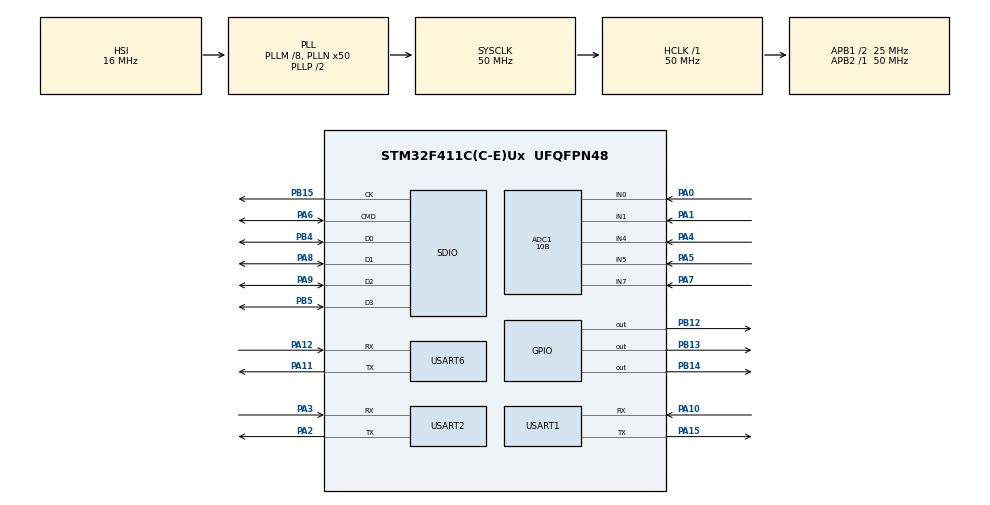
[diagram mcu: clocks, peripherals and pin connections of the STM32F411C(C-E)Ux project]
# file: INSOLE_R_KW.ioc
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Mcu.Family=STM32F4
Dma.USART2_RX.3.Mode=DMA_CIRCULAR
PA6.Mode=SD_4_bits_Wide_bus
ADC1.Rank-14\#ChannelRegularConversion=5
RCC.CortexFreq_Value=50000000
Dma.SDIO_RX.1.PeriphDataAlignment=DMA_PDATAALIGN_WORD
ADC1.ContinuousConvMode=ENABLE
VP_FATFS_VS_SDIO.Mode=SDIO
Dma.SDIO_RX.1.Mode=DMA_PFCTRL
Dma.SDIO_RX.1.Direction=DMA_PERIPH_TO_MEMORY
PA11.Mode=Asynchronous
Dma.SDIO_RX.1.Priority=DMA_PRIORITY_LOW
FREERTOS.configTICK_RATE_HZ=1000
ADC1.SamplingTime-12\#ChannelRegularConversion=ADC_SAMPLETIME_112CYCLES
PB13.Signal=GPIO_Output
PB15.Signal=SDIO_CK
ADC1.Channel-14\#ChannelRegularConversion=ADC_CHANNEL_7
TIM4.TIM_MasterOutputTrigger=TIM_TRGO_RESET
RCC.SYSCLKSource=RCC_SYSCLKSOURCE_PLLCLK
ProjectManager.StackSize=0x4000
Dma.SDIO_RX.1.Instance=DMA2_Stream3
Dma.SDIO_TX.2.Mode=DMA_PFCTRL
PA12.Signal=USART6_RX
Dma.SDIO_TX.2.MemDataAlignment=DMA_MDATAALIGN_WORD
ADC1.Channel-5\#ChannelRegularConversion=ADC_CHANNEL_0
NVIC.TIM5_IRQn=true\:0\:0\:false\:false\:true\:false\:false\:true
RCC.HCLKFreq_Value=50000000
ADC1.Resolution=ADC_RESOLUTION_10B
RCC.APB2TimFreq_Value=50000000
Dma.SDIO_RX.1.FIFOMode=DMA_FIFOMODE_ENABLE
Dma.ADC1.0.Direction=DMA_PERIPH_TO_MEMORY
ADC1.InjNumberOfConversion=0
NVIC.DMA2_Stream0_IRQn=true\:5\:0\:false\:false\:true\:true\:false\:true
Dma.ADC1.0.MemDataAlignment=DMA_MDATAALIGN_HALFWORD
RCC.AHBFreq_Value=50000000
RCC.HSE_VALUE=8000000
Dma.USART6_RX.4.Mode=DMA_NORMAL
PA15.Mode=Asynchronous
Dma.USART6_RX.4.Instance=DMA2_Stream1
PA6.GPIO_PuPd=GPIO_PULLUP
PB4.Mode=SD_4_bits_Wide_bus
Dma.ADC1.0.PeriphInc=DMA_PINC_DISABLE
PB5.Mode=SD_4_bits_Wide_bus
Dma.SDIO_TX.2.Direction=DMA_MEMORY_TO_PERIPH
PA8.Signal=SDIO_D1
SH.ADCx_IN0.0=ADC1_IN0,IN0
TIM4.Period=10-1
VP_FREERTOS_VS_CMSIS_V1.Mode=CMSIS_V1
Dma.USART2_RX.3.Direction=DMA_PERIPH_TO_MEMORY
Mcu.Package=UFQFPN48
Dma.USART6_RX.4.PeriphInc=DMA_PINC_DISABLE
PA6.Signal=SDIO_CMD
NVIC.TimeBase=TIM5_IRQn
USART2.VirtualMode=VM_ASYNC
USART6.VirtualMode=VM_ASYNC
ADC1.SamplingTime-13\#ChannelRegularConversion=ADC_SAMPLETIME_112CYCLES
Dma.SDIO_TX.2.PeriphBurst=DMA_PBURST_INC4
NVIC.TimeBaseIP=TIM5
PA10.Signal=USART1_RX
PA15.Signal=USART1_TX
Dma.SDIO_RX.1.PeriphBurst=DMA_PBURST_INC4
SH.ADCx_IN1.0=ADC1_IN1,IN1
Dma.USART2_RX.3.MemDataAlignment=DMA_MDATAALIGN_BYTE
Dma.USART6_RX.4.MemInc=DMA_MINC_ENABLE
Dma.Request2=SDIO_TX
Dma.Request1=SDIO_RX
RCC.APB1TimFreq_Value=50000000
Dma.Request4=USART6_RX
Dma.Request3=USART2_RX
Dma.ADC1.0.FIFOMode=DMA_FIFOMODE_DISABLE
NVIC.USART1_IRQn=true\:5\:0\:false\:false\:true\:true\:true\:true
Dma.Request0=ADC1
Dma.SDIO_TX.2.FIFOThreshold=DMA_FIFO_THRESHOLD_FULL
PB4.Signal=SDIO_D0
PA3.Signal=USART2_RX
Dma.USART6_RX.4.MemDataAlignment=DMA_MDATAALIGN_BYTE
ADC1.Channel-10\#ChannelRegularConversion=ADC_CHANNEL_1
Dma.SDIO_TX.2.MemInc=DMA_MINC_ENABLE
Dma.ADC1.0.Instance=DMA2_Stream0
FREERTOS.Tasks01=defaultTask,0,128,StartDefaultTask,Default,NULL
PA10.Mode=Asynchronous
ADC1.Rank-10\#ChannelRegularConversion=2
Dma.USART2_RX.3.Instance=DMA1_Stream5
Dma.USART6_RX.4.Priority=DMA_PRIORITY_LOW
VP_SYS_VS_tim5.Mode=TIM5
Dma.USART6_RX.4.PeriphDataAlignment=DMA_PDATAALIGN_BYTE
Dma.USART6_RX.4.FIFOMode=DMA_FIFOMODE_DISABLE
Dma.USART2_RX.3.PeriphDataAlignment=DMA_PDATAALIGN_BYTE
Dma.SDIO_TX.2.Instance=DMA2_Stream6
NVIC.DMA2_Stream1_IRQn=true\:5\:0\:false\:false\:true\:true\:false\:true
ADC1.Channel-13\#ChannelRegularConversion=ADC_CHANNEL_5
RCC.APB1CLKDivider=RCC_HCLK_DIV2
PA9.GPIO_PuPd=GPIO_PULLUP
NVIC.USART2_IRQn=true\:5\:0\:false\:false\:true\:true\:true\:true
NVIC.SDIO_IRQn=true\:5\:0\:false\:false\:true\:true\:true\:true
PA0-WKUP.Signal=ADCx_IN0
Dma.SDIO_RX.1.PeriphInc=DMA_PINC_DISABLE
NVIC.USART6_IRQn=true\:5\:0\:false\:false\:true\:true\:true\:true
PA3.Mode=Asynchronous
ADC1.Rank-13\#ChannelRegularConversion=4
Dma.ADC1.0.PeriphDataAlignment=DMA_PDATAALIGN_HALFWORD
PA9.Mode=SD_4_bits_Wide_bus
Dma.USART2_RX.3.FIFOMode=DMA_FIFOMODE_DISABLE
ProjectManager.TargetToolchain=MDK-ARM V5
NVIC.DMA1_Stream5_IRQn=true\:5\:0\:false\:false\:true\:true\:false\:true
SH.ADCx_IN7.0=ADC1_IN7,IN7
Dma.ADC1.0.Mode=DMA_CIRCULAR
Dma.ADC1.0.Priority=DMA_PRIORITY_LOW
PA9.Signal=SDIO_D2
Dma.SDIO_TX.2.PeriphDataAlignment=DMA_PDATAALIGN_WORD
PB4.GPIO_PuPd=GPIO_PULLUP
SDIO.ClockDiv=3
NVIC.DMA2_Stream3_IRQn=true\:5\:0\:false\:false\:true\:true\:false\:true
NVIC.DMA2_Stream6_IRQn=true\:5\:0\:false\:false\:true\:true\:false\:true
TIM4.Prescaler=5000-1
RCC.LSE_VALUE=32768
PA1.Signal=ADCx_IN1
Dma.SDIO_RX.1.MemDataAlignment=DMA_MDATAALIGN_WORD
Dma.SDIO_RX.1.FIFOThreshold=DMA_FIFO_THRESHOLD_FULL
PB14.Signal=GPIO_Output
PA5.Signal=ADCx_IN5
board=custom
Dma.SDIO_RX.1.MemBurst=DMA_MBURST_INC4
ADC1.Rank-12\#ChannelRegularConversion=3
RCC.VCOOutputFreq_Value=100000000
PB15.Mode=SD_4_bits_Wide_bus
ADC1.SamplingTime-14\#ChannelRegularConversion=ADC_SAMPLETIME_112CYCLES
ADC1.Channel-12\#ChannelRegularConversion=ADC_CHANNEL_4
RCC.APB2Freq_Value=50000000
SH.ADCx_IN4.0=ADC1_IN4,IN4
ADC1.DMAContinuousRequests=ENABLE
ADC1.SamplingTime-10\#ChannelRegularConversion=ADC_SAMPLETIME_112CYCLES
ADC1.NbrOfConversion=5
Mcu.Name=STM32F411C(C-E)Ux
PA2.Signal=USART2_TX
Dma.SDIO_TX.2.Priority=DMA_PRIORITY_LOW
FATFS._MAX_SS=4096
RCC.48MHZClocksFreq_Value=33333333.333333332
PA4.Signal=ADCx_IN4
RCC.SYSCLKFreq_VALUE=50000000
PB5.Signal=SDIO_D3
ADC1.master=1
PA12.Mode=Asynchronous
Dma.USART6_RX.4.Direction=DMA_PERIPH_TO_MEMORY
PB5.GPIO_PuPd=GPIO_PULLUP
USART1.VirtualMode=VM_ASYNC
PA11.Signal=USART6_TX
Dma.ADC1.0.MemInc=DMA_MINC_ENABLE
Dma.SDIO_TX.2.MemBurst=DMA_MBURST_INC4
ProjectManager.HeapSize=0x2000
Dma.SDIO_RX.1.MemInc=DMA_MINC_ENABLE
Dma.SDIO_TX.2.FIFOMode=DMA_FIFOMODE_ENABLE
Dma.USART2_RX.3.MemInc=DMA_MINC_ENABLE
Dma.USART2_RX.3.PeriphInc=DMA_PINC_DISABLE
ADC1.SamplingTime-5\#ChannelRegularConversion=ADC_SAMPLETIME_112CYCLES
RCC.HSI_VALUE=16000000
PA8.GPIO_PuPd=GPIO_PULLUP
SH.ADCx_IN5.0=ADC1_IN5,IN5
VP_TIM4_VS_ClockSourceINT.Mode=Internal
RCC.PLLQ=3
NVIC.PriorityGroup=NVIC_PRIORITYGROUP_4
ADC1.NbrOfConversionFlag=1
RCC.PLLM=8
RCC.PLLN=50
Dma.USART2_RX.3.Priority=DMA_PRIORITY_LOW
PA2.Mode=Asynchronous
Dma.SDIO_TX.2.PeriphInc=DMA_PINC_DISABLE
PA8.Mode=SD_4_bits_Wide_bus
NVIC.TIM4_IRQn=true\:5\:0\:false\:false\:true\:true\:true\:true
RCC.APB1Freq_Value=25000000
VP_CRC_VS_CRC.Mode=CRC_Activate
ADC1.Rank-5\#ChannelRegularConversion=1
PB12.Signal=GPIO_Output
PA7.Signal=ADCx_IN7

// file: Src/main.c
/* USER CODE BEGIN Header */

/*Definition in INSOLE Device Comm system
INSOLE_L : 10BYTE(FSR) + 4BYTE(ST/ED) + 6BYTE(UWB) + 2BYTE(CRC) = 22BYTE
***INSOLE_L : 10BYTE(FSR) + 4BYTE(ST/ED) + 12BYTE(UWB) + 2BYTE(CRC) = 28BYTE

INSOLE_R : 20BYTE(FSR) + 4BYTE(ST/ED) + 12BYTE(UWB) + 2BYTE(CRC)= 38BYTE
***INSOLE_R : 20BYTE(FSR) + 4BYTE(ST/ED) + 24BYTE(UWB) + 2BYTE(CRC)= 50BYTE

IMU      : 2Byte(TMR) + 20BYTE(FSR) + 18BYTE(IMU) + 12BYTE(UWB) + 4BYTE(ST/ED) + 2BYTE(CRC) = 58BYTE
***IMU      : 2Byte(TMR) + 20BYTE(FSR) + 18BYTE(IMU) + 24BYTE(UWB) + 4BYTE(ST/ED) + 2BYTE(CRC) = 70BYTE
*/
/**
  ******************************************************************************
  * @file           : main.c
  * @brief          : Main program body
  ******************************************************************************
  * @attention
  *
  * <h2><center>&copy; Copyright (c) 2020 STMicroelectronics.
  * All rights reserved.</center></h2>
  *
  * This software component is licensed by ST under Ultimate Liberty license
  * SLA0044, the "License"; You may not use this file except in compliance with
  * the License. You may obtain a copy of the License at:
  *                             www.st.com/SLA0044
  *
  ******************************************************************************
  */
/* USER CODE END Header */

#include "main.h"
#include "cmsis_os.h"
#include "fatfs.h"

/* USER CODE BEGIN Includes */
#include <stdio.h>
#include <string.h>
#include <stdbool.h>
/* USER CODE END Includes */

ADC_HandleTypeDef hadc1;
DMA_HandleTypeDef hdma_adc1;
CRC_HandleTypeDef hcrc;
SD_HandleTypeDef hsd;
DMA_HandleTypeDef hdma_sdio_rx;
DMA_HandleTypeDef hdma_sdio_tx;
TIM_HandleTypeDef htim4;
UART_HandleTypeDef huart1;
UART_HandleTypeDef huart2;
UART_HandleTypeDef huart6;
DMA_HandleTypeDef hdma_usart2_rx;
DMA_HandleTypeDef hdma_usart6_rx;
osThreadId defaultTaskHandle;

void SystemClock_Config(void);
static void MX_GPIO_Init(void);
static void MX_DMA_Init(void);
static void MX_ADC1_Init(void);
static void MX_USART1_UART_Init(void);
static void MX_USART2_UART_Init(void);
static void MX_CRC_Init(void);
static void MX_SDIO_SD_Init(void);
static void MX_TIM4_Init(void);
static void MX_USART6_UART_Init(void);
void StartDefaultTask(void const * argument);

/* USER CODE BEGIN 0 */
	//Communication buffers
	//DMA comm
	bool dma_connect = false;
	bool data_received_dma = true;

	uint8_t txdata[50]; //rx byffer
	uint8_t rxBuf_[32] = {0};
	uint8_t rxBuf_crc[32] = {0};

	//Inturrupt comm
	uint8_t buff_index = 0;
	bool received_flag = false;
	bool received_end = false;

	uint8_t rxBuf_sd[9];

	//UWB comm
	uint8_t Rxbuf_ino[16] = {0}; //rx from arduino
	uint8_t Rxbuf_ino_p[16] = {0}; //rx from arduino parsed

	//ADC DMA
	uint16_t adcValArray[5] = {0,};

	//crc
	uint32_t crcArray[8] = {0,}; // crc for save
	uint32_t crcArray_send[12] = {0,}; // crc for send
	uint16_t crcval = 0; // calculate crc data for test

	//buff calcualtion
	uint16_t cal_val = 0;
	uint16_t receive_val =0;

	//SD card variables
	extern char SDPath[4];   /* SD logical drive path */
	extern FATFS SDFatFS;    /* File system object for SD logical drive */
	extern FIL SDFile;       /* File object for SD */

	//FILE I/O operation
	FRESULT res;                                          /* FatFs function common result code */
	uint32_t byteswritten, bytesread;                     /* File write/read counts */
	uint8_t wtext[] = "test"; 			      /* File write start buffer */
	uint8_t rtext[100];                                   /* File read buffer */

	FATFS myFATAS;
	FIL myFILE;
	UINT testByte; 										  // error detection
	bool datasave_flg = true;
	bool ongoing_flg = false;

	bool sdcard_save = false;
	bool sdcard_save_check = true;
	bool sdcard_save_ongoing = false;

	//Timer
	bool _10ms_flg = false;
	bool _5ms_flg = false;
	bool _1000ms_flg = false;

	uint16_t ms_tmr = 0;
	uint16_t _100ms_tmr = 0;
	uint16_t ms_sv_tmr = 0;

	//wdg cnt
	uint8_t wdg_cnt = 0;
	uint8_t wdg_tmr = 0;

	//test val
	uint16_t test_val = 0;
	uint8_t k = 0;
	char str_testset[10];

/* USER CODE END 0 */

int main(void)
{

  /* MCU Configuration--------------------------------------------------------*/

  /* Reset of all peripherals, Initializes the Flash interface and the Systick. */
  HAL_Init();

  /* Configure the system clock */
  SystemClock_Config();

  /* Initialize all configured peripherals */
  MX_GPIO_Init();
  MX_DMA_Init();
  MX_ADC1_Init();
  MX_USART1_UART_Init();
  MX_USART2_UART_Init();
  MX_CRC_Init();
  MX_SDIO_SD_Init();
  MX_TIM4_Init();
  MX_USART6_UART_Init();
  MX_FATFS_Init();
  /* USER CODE BEGIN 2 */

  HAL_UART_Receive_DMA(&huart2, (uint8_t *)rxBuf_crc, 32); //interrupt dma mode only in the mcu data
  //HAL_UART_Receive_DMA(&huart6, (uint8_t *)Rxbuf_ino, 16); //interrupt dma mode for arduino
  HAL_UART_Receive_IT(&huart1, (uint8_t *)rxBuf_sd, 9); //receive data from sd card

  HAL_ADC_Start_DMA(&hadc1,(uint32_t *)adcValArray, 5);
  HAL_TIM_Base_Start_IT(&htim4);
  /* USER CODE END 2 */

  /* Create the thread(s) */
  /* definition and creation of defaultTask */
  osThreadDef(defaultTask, StartDefaultTask, osPriorityNormal, 0, 128);
  defaultTaskHandle = osThreadCreate(osThread(defaultTask), NULL);

  /* Start scheduler */
  osKernelStart();

  /* We should never get here as control is now taken by the scheduler */
  /* Infinite loop */
  while (1)
  {

  }
}

void SystemClock_Config(void)
{
  RCC_OscInitTypeDef RCC_OscInitStruct = {0};
  RCC_ClkInitTypeDef RCC_ClkInitStruct = {0};

  /** Configure the main internal regulator output voltage
  */
  __HAL_RCC_PWR_CLK_ENABLE();
  __HAL_PWR_VOLTAGESCALING_CONFIG(PWR_REGULATOR_VOLTAGE_SCALE1);
  /** Initializes the CPU, AHB and APB busses clocks
  */
  RCC_OscInitStruct.OscillatorType = RCC_OSCILLATORTYPE_HSI;
  RCC_OscInitStruct.HSIState = RCC_HSI_ON;
  RCC_OscInitStruct.HSICalibrationValue = RCC_HSICALIBRATION_DEFAULT;
  RCC_OscInitStruct.PLL.PLLState = RCC_PLL_ON;
  RCC_OscInitStruct.PLL.PLLSource = RCC_PLLSOURCE_HSI;
  RCC_OscInitStruct.PLL.PLLM = 8;
  RCC_OscInitStruct.PLL.PLLN = 50;
  RCC_OscInitStruct.PLL.PLLP = RCC_PLLP_DIV2;
  RCC_OscInitStruct.PLL.PLLQ = 3;
  if (HAL_RCC_OscConfig(&RCC_OscInitStruct) != HAL_OK)
  {
    Error_Handler();
  }
  /** Initializes the CPU, AHB and APB busses clocks
  */
  RCC_ClkInitStruct.ClockType = RCC_CLOCKTYPE_HCLK|RCC_CLOCKTYPE_SYSCLK
                              |RCC_CLOCKTYPE_PCLK1|RCC_CLOCKTYPE_PCLK2;
  RCC_ClkInitStruct.SYSCLKSource = RCC_SYSCLKSOURCE_PLLCLK;
  RCC_ClkInitStruct.AHBCLKDivider = RCC_SYSCLK_DIV1;
  RCC_ClkInitStruct.APB1CLKDivider = RCC_HCLK_DIV2;
  RCC_ClkInitStruct.APB2CLKDivider = RCC_HCLK_DIV1;

  if (HAL_RCC_ClockConfig(&RCC_ClkInitStruct, FLASH_LATENCY_1) != HAL_OK)
  {
    Error_Handler();
  }
}

static void MX_ADC1_Init(void)
{

  ADC_ChannelConfTypeDef sConfig = {0};

  /** Configure the global features of the ADC (Clock, Resolution, Data Alignment and number of conversion)
  */
  hadc1.Instance = ADC1;
  hadc1.Init.ClockPrescaler = ADC_CLOCK_SYNC_PCLK_DIV2;
  hadc1.Init.Resolution = ADC_RESOLUTION_10B;
  hadc1.Init.ScanConvMode = ENABLE;
  hadc1.Init.ContinuousConvMode = ENABLE;
  hadc1.Init.DiscontinuousConvMode = DISABLE;
  hadc1.Init.ExternalTrigConvEdge = ADC_EXTERNALTRIGCONVEDGE_NONE;
  hadc1.Init.ExternalTrigConv = ADC_SOFTWARE_START;
  hadc1.Init.DataAlign = ADC_DATAALIGN_RIGHT;
  hadc1.Init.NbrOfConversion = 5;
  hadc1.Init.DMAContinuousRequests = ENABLE;
  hadc1.Init.EOCSelection = ADC_EOC_SINGLE_CONV;
  if (HAL_ADC_Init(&hadc1) != HAL_OK)
  {
    Error_Handler();
  }
  /** Configure for the selected ADC regular channel its corresponding rank in the sequencer and its sample time.
  */
  sConfig.Channel = ADC_CHANNEL_0;
  sConfig.Rank = 1;
  sConfig.SamplingTime = ADC_SAMPLETIME_112CYCLES;
  if (HAL_ADC_ConfigChannel(&hadc1, &sConfig) != HAL_OK)
  {
    Error_Handler();
  }
  /** Configure for the selected ADC regular channel its corresponding rank in the sequencer and its sample time.
  */
  sConfig.Channel = ADC_CHANNEL_1;
  sConfig.Rank = 2;
  if (HAL_ADC_ConfigChannel(&hadc1, &sConfig) != HAL_OK)
  {
    Error_Handler();
  }
  /** Configure for the selected ADC regular channel its corresponding rank in the sequencer and its sample time.
  */
  sConfig.Channel = ADC_CHANNEL_4;
  sConfig.Rank = 3;
  if (HAL_ADC_ConfigChannel(&hadc1, &sConfig) != HAL_OK)
  {
    Error_Handler();
  }
  /** Configure for the selected ADC regular channel its corresponding rank in the sequencer and its sample time.
  */
  sConfig.Channel = ADC_CHANNEL_5;
  sConfig.Rank = 4;
  if (HAL_ADC_ConfigChannel(&hadc1, &sConfig) != HAL_OK)
  {
    Error_Handler();
  }
  /** Configure for the selected ADC regular channel its corresponding rank in the sequencer and its sample time.
  */
  sConfig.Channel = ADC_CHANNEL_7;
  sConfig.Rank = 5;
  if (HAL_ADC_ConfigChannel(&hadc1, &sConfig) != HAL_OK)
  {
    Error_Handler();
  }

}

static void MX_CRC_Init(void)
{

  hcrc.Instance = CRC;
  if (HAL_CRC_Init(&hcrc) != HAL_OK)
  {
    Error_Handler();
  }

}

static void MX_SDIO_SD_Init(void)
{

  hsd.Instance = SDIO;
  hsd.Init.ClockEdge = SDIO_CLOCK_EDGE_RISING;
  hsd.Init.ClockBypass = SDIO_CLOCK_BYPASS_DISABLE;
  hsd.Init.ClockPowerSave = SDIO_CLOCK_POWER_SAVE_DISABLE;
  hsd.Init.BusWide = SDIO_BUS_WIDE_1B;
  hsd.Init.HardwareFlowControl = SDIO_HARDWARE_FLOW_CONTROL_DISABLE;
  hsd.Init.ClockDiv = 3;

}

static void MX_TIM4_Init(void)
{

  TIM_ClockConfigTypeDef sClockSourceConfig = {0};
  TIM_MasterConfigTypeDef sMasterConfig = {0};

  htim4.Instance = TIM4;
  htim4.Init.Prescaler = 5000-1;
  htim4.Init.CounterMode = TIM_COUNTERMODE_UP;
  htim4.Init.Period = 10-1;
  htim4.Init.ClockDivision = TIM_CLOCKDIVISION_DIV1;
  htim4.Init.AutoReloadPreload = TIM_AUTORELOAD_PRELOAD_DISABLE;
  if (HAL_TIM_Base_Init(&htim4) != HAL_OK)
  {
    Error_Handler();
  }
  sClockSourceConfig.ClockSource = TIM_CLOCKSOURCE_INTERNAL;
  if (HAL_TIM_ConfigClockSource(&htim4, &sClockSourceConfig) != HAL_OK)
  {
    Error_Handler();
  }
  sMasterConfig.MasterOutputTrigger = TIM_TRGO_RESET;
  sMasterConfig.MasterSlaveMode = TIM_MASTERSLAVEMODE_DISABLE;
  if (HAL_TIMEx_MasterConfigSynchronization(&htim4, &sMasterConfig) != HAL_OK)
  {
    Error_Handler();
  }

}

static void MX_USART1_UART_Init(void)
{

  huart1.Instance = USART1;
  huart1.Init.BaudRate = 115200;
  huart1.Init.WordLength = UART_WORDLENGTH_8B;
  huart1.Init.StopBits = UART_STOPBITS_1;
  huart1.Init.Parity = UART_PARITY_NONE;
  huart1.Init.Mode = UART_MODE_TX_RX;
  huart1.Init.HwFlowCtl = UART_HWCONTROL_NONE;
  huart1.Init.OverSampling = UART_OVERSAMPLING_16;
  if (HAL_UART_Init(&huart1) != HAL_OK)
  {
    Error_Handler();
  }

}

static void MX_USART2_UART_Init(void)
{

  huart2.Instance = USART2;
  huart2.Init.BaudRate = 115200;
  huart2.Init.WordLength = UART_WORDLENGTH_8B;
  huart2.Init.StopBits = UART_STOPBITS_1;
  huart2.Init.Parity = UART_PARITY_NONE;
  huart2.Init.Mode = UART_MODE_TX_RX;
  huart2.Init.HwFlowCtl = UART_HWCONTROL_NONE;
  huart2.Init.OverSampling = UART_OVERSAMPLING_16;
  if (HAL_UART_Init(&huart2) != HAL_OK)
  {
    Error_Handler();
  }

}

static void MX_USART6_UART_Init(void)
{

  huart6.Instance = USART6;
  huart6.Init.BaudRate = 115200;
  huart6.Init.WordLength = UART_WORDLENGTH_8B;
  huart6.Init.StopBits = UART_STOPBITS_1;
  huart6.Init.Parity = UART_PARITY_NONE;
  huart6.Init.Mode = UART_MODE_TX_RX;
  huart6.Init.HwFlowCtl = UART_HWCONTROL_NONE;
  huart6.Init.OverSampling = UART_OVERSAMPLING_16;
  if (HAL_UART_Init(&huart6) != HAL_OK)
  {
    Error_Handler();
  }

}

static void MX_DMA_Init(void)
{

  /* DMA controller clock enable */
  __HAL_RCC_DMA2_CLK_ENABLE();
  __HAL_RCC_DMA1_CLK_ENABLE();

  /* DMA interrupt init */
  /* DMA1_Stream5_IRQn interrupt configuration */
  HAL_NVIC_SetPriority(DMA1_Stream5_IRQn, 5, 0);
  HAL_NVIC_EnableIRQ(DMA1_Stream5_IRQn);
  /* DMA2_Stream0_IRQn interrupt configuration */
  HAL_NVIC_SetPriority(DMA2_Stream0_IRQn, 5, 0);
  HAL_NVIC_EnableIRQ(DMA2_Stream0_IRQn);
  /* DMA2_Stream1_IRQn interrupt configuration */
  HAL_NVIC_SetPriority(DMA2_Stream1_IRQn, 5, 0);
  HAL_NVIC_EnableIRQ(DMA2_Stream1_IRQn);
  /* DMA2_Stream3_IRQn interrupt configuration */
  HAL_NVIC_SetPriority(DMA2_Stream3_IRQn, 5, 0);
  HAL_NVIC_EnableIRQ(DMA2_Stream3_IRQn);
  /* DMA2_Stream6_IRQn interrupt configuration */
  HAL_NVIC_SetPriority(DMA2_Stream6_IRQn, 5, 0);
  HAL_NVIC_EnableIRQ(DMA2_Stream6_IRQn);

}

static void MX_GPIO_Init(void)
{
  GPIO_InitTypeDef GPIO_InitStruct = {0};

  /* GPIO Ports Clock Enable */
  __HAL_RCC_GPIOA_CLK_ENABLE();
  __HAL_RCC_GPIOB_CLK_ENABLE();

  /*Configure GPIO pin Output Level */
  HAL_GPIO_WritePin(GPIOB, GPIO_PIN_12|GPIO_PIN_13|GPIO_PIN_14, GPIO_PIN_RESET);

  /*Configure GPIO pins : PB12 PB13 PB14 */
  GPIO_InitStruct.Pin = GPIO_PIN_12|GPIO_PIN_13|GPIO_PIN_14;
  GPIO_InitStruct.Mode = GPIO_MODE_OUTPUT_PP;
  GPIO_InitStruct.Pull = GPIO_NOPULL;
  GPIO_InitStruct.Speed = GPIO_SPEED_FREQ_LOW;
  HAL_GPIO_Init(GPIOB, &GPIO_InitStruct);

}

/* USER CODE BEGIN 4 */

 void HAL_UART_RxCpltCallback(UART_HandleTypeDef *huart)
{
  /* Prevent unused argument(s) compilation warning */
  /* NOTE: This function should not be modified, when the callback is needed,
           the HAL_UART_RxCpltCallback could be implemented in the user file
  */
		//from
		if(huart->Instance == USART2){
				HAL_GPIO_TogglePin(GPIOB, GPIO_PIN_12);
				if(rxBuf_crc[0] == 0xFF && rxBuf_crc[1] == 0xFF){
					received_flag = true;
					dma_connect = true;
					memcpy(&rxBuf_[0], &rxBuf_crc[0], 32 );
				}
				else
				{
					received_flag = false;
					dma_connect = false;
					HAL_DMA_Abort(&hdma_usart2_rx);
				}
				test_val++;
		}
//		//from pc
//		if(huart->Instance == USART1){

//		uint8_t rxBuf_sd_p[9];

//		char rxlen = sizeof(rxBuf_sd);
//		for(char i =0; i < rxlen; i++)
//		{
//			char stx = i;
//			char etx = (i + rxlen - 1)%rxlen;
//			if(rxBuf_sd[stx] == '*' && rxBuf_sd[(etx)] == ';')
//			{
//					for(char j =0; j < rxlen; j++){
//						char k = (stx + j)%rxlen;
//						rxBuf_sd_p[j] = rxBuf_sd[k]; // data parse AND SAVE CUR
//					}
//				break;
//			}
//		}

//				if(rxBuf_sd_p[0] == '*' && rxBuf_sd_p[8] ==';'){
//						if(rxBuf_sd_p[1] == 's'){
//							char _txt[] = ".txt";
//							strncpy(str_testset, (const char*)rxBuf_sd+2,6);
//							strcat(str_testset,_txt);
//						//	sdcard_save = true;
//						HAL_UART_Transmit_IT(&huart2,rxBuf_sd_p,9); // data send to other bluetooth!
//						}
//						else if(rxBuf_sd_p[1] == 'e'){
//							HAL_GPIO_TogglePin(GPIOB, GPIO_PIN_14);
//						//	sdcard_save = false;
//						}
//				}
//				else{
//					memset(rxBuf_sd,0,sizeof(uint8_t)*9);
//				}
//	HAL_UART_Receive_IT(&huart1, (uint8_t *)rxBuf_sd, 9);
//
//		}
			// from arduino
		if(huart->Instance == USART6){

			}
}

void HAL_UART_TxCpltCallback(UART_HandleTypeDef *huart)
{
  /* Prevent unused argument(s) compilation warning */
	if(huart->Instance == USART2){

	}
	/* NOTE: This function should not be modified, when the callback is needed,
           the HAL_UART_TxCpltCallback could be implemented in the user file
	*/
}

void wdg_activate(){
	HAL_NVIC_SystemReset();
}

/* USER CODE END 4 */

void StartDefaultTask(void const * argument)
{
  /* USER CODE BEGIN 5 */
	//sd
	f_mount(&SDFatFS, (TCHAR const*)SDPath, 1);

//	if(f_open(&SDFile, "test32.txt", FA_CREATE_ALWAYS | FA_WRITE )== FR_OK){
//	}
//

  /* Infinite loop */
  for(;;)
  {
//	  	if(sdcard_save){
//				if(sdcard_save_check){
//					//HAL_GPIO_TogglePin(GPIOB, GPIO_PIN_14);
//					sdcard_save_check = false;
//					if(f_open(&SDFile, str_testset , FA_CREATE_ALWAYS | FA_WRITE ) == FR_OK){
//					sdcard_save_ongoing = true;
//					//HAL_GPIO_TogglePin(GPIOB, GPIO_PIN_14);
//					}
//				}
//			}
//		else{
//			if(!sdcard_save_check) {
//				f_close(&SDFile);
//				sdcard_save_check = true;
//				sdcard_save_ongoing = false;
//			}
//		}
	  if(_5ms_flg){
		_5ms_flg = false;

		txdata[0] = 0xFF;
		txdata[1] = 0xFF;
		//Right leg insole
		for(int i =0; i<5; i++){ // right / left -- insole + Imu dataset :
		char a = i*2;
		txdata[2+a] = adcValArray[i] >> 8;  //hi
		txdata[3+a] = adcValArray[i] & 0xFF;//lo
		}
		//Left leg insole from usart

		if(received_flag) {
		received_flag = false;
		uint8_t cprxBuf[32];
		memcpy(&cprxBuf[0], &rxBuf_[0], sizeof(uint8_t)*32);

		memset(crcArray,0,8*sizeof(crcArray[0]));
		memmove(&crcArray[0], &cprxBuf[2], sizeof(uint8_t)*22);
			char crc_begin = 24;
			char crc_end = 25;   //LLSB	 20 = FF 21 = FE 28 - 27 26
			receive_val = (int16_t)(((int16_t)cprxBuf[crc_begin] << 8) | cprxBuf[crc_end]);
			cal_val = (HAL_CRC_Calculate(&hcrc,crcArray,7)&0xffff);
			if(cal_val == receive_val)
			{
				memmove(&txdata[12], &cprxBuf[2], sizeof(uint8_t)*26);
			}
			else if( cal_val != receive_val)
			{
 				wdg_cnt ++;
				continue;
			}
		}
		//right foot
		//txdata [34] =

//		for(int i =0; i < 12; i ++){
//		txdata [34+i]  = Rxbuf_ino_p[2+i]; // signed short uwb data to txdata
//		}

		memset(crcArray_send,0,12*sizeof(crcArray_send[0]));
		memcpy(&crcArray_send[0], &txdata[2] , 44);
		crcval = HAL_CRC_Calculate(&hcrc,crcArray_send,11)& 0xffff;

		txdata[46] = crcval >> 8;
		txdata[47] = crcval & 0xff;
		txdata[48] = 0xFF;
		txdata[49] = 0xFE;

		//	DATA SAVE TO LEFT LEG
			//5ms data save
//			for(int i =0; i<26; i++) {
//			f_printf(&SDFile, "%02x", txdata[i]);
//			}
//			f_printf(&SDFile, "\n");
//
//			f_close(&SDFile);

			// received data from pc

			// crc error
			HAL_UART_Transmit_IT(&huart1,txdata,50); //
		}
//	TRANSMIT DATA TO LEFT LEG
	}
  /* USER CODE END 5 */
}

 /**
  * @brief  Period elapsed callback in non blocking mode
  * @note   This function is called  when TIM5 interrupt took place, inside
  * HAL_TIM_IRQHandler(). It makes a direct call to HAL_IncTick() to increment
  * a global variable "uwTick" used as application time base.
  * @param  htim : TIM handle
  * @retval None
  */
void HAL_TIM_PeriodElapsedCallback(TIM_HandleTypeDef *htim)
{
  if (htim->Instance == TIM5) {
    HAL_IncTick();
  }
  /* USER CODE BEGIN Callback 1 */
 	if(htim ->Instance  == TIM4){
		ms_tmr ++;
		_100ms_tmr++;
		ms_sv_tmr++;

 		if(ms_tmr % 5 == 0){
			_5ms_flg = true;
			ms_tmr = 0;
		}
		if(_100ms_tmr % 100 == 0){ // watchdog tmr
			ongoing_flg = true;
			_100ms_tmr = 0;
		}

		if(ms_sv_tmr % 100 == 0){ // 10sec later - data save -> will change mode in the pc data
			datasave_flg = false;
			if(!dma_connect) HAL_UART_Receive_DMA(&huart2, (uint8_t *)rxBuf_crc, 32); //interrupt dma mode only in the mcu data

			ms_sv_tmr = 0;
		}
	}
  /* USER CODE END Callback 1 */
}

void Error_Handler(void)
{
}

/************************ (C) COPYRIGHT STMicroelectronics *****END OF FILE****/
